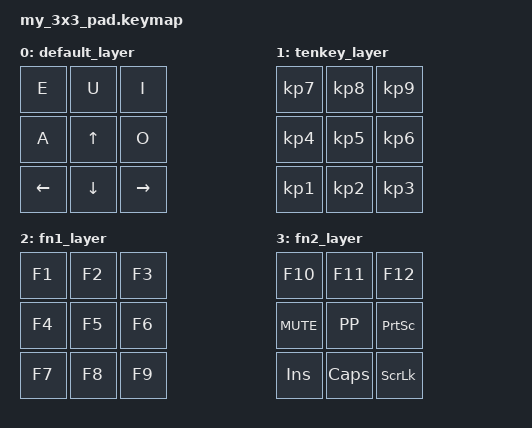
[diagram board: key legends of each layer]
#include <behaviors.dtsi>
#include <dt-bindings/zmk/keys.h>

/ {
    combos {
        compatible = "zmk,combos";
        timeout-ms = <50>;

        /* --- 基本操作 --- */
        cb_bs      { key-positions = <0 1 2>; bindings = <&kp BSPC>; };
        cb_del     { key-positions = <0 1 2 8>; bindings = <&kp DEL>; };
        cb_ent     { key-positions = <3 4 5>; bindings = <&kp ENTER>; };
        cb_spc     { key-positions = <6 7 8>; bindings = <&kp SPACE>; };

        /* --- アルファベット --- */
        cb_q { key-positions = <0 3>; bindings = <&kp Q>; };
        cb_w { key-positions = <0 4>; bindings = <&kp W>; };
        cb_r { key-positions = <0 1>; bindings = <&kp R>; };
        cb_t { key-positions = <0 2>; bindings = <&kp T>; };
        cb_y { key-positions = <1 4>; bindings = <&kp Y>; };
        cb_p { key-positions = <1 2>; bindings = <&kp P>; };
        cb_s { key-positions = <0 6>; bindings = <&kp S>; };
        cb_d { key-positions = <1 3>; bindings = <&kp D>; };
        cb_f { key-positions = <3 4>; bindings = <&kp F>; };
        cb_g { key-positions = <1 7>; bindings = <&kp G>; };
        cb_h { key-positions = <3 5>; bindings = <&kp H>; };
        cb_j { key-positions = <4 5>; bindings = <&kp J>; };
        cb_k { key-positions = <1 5>; bindings = <&kp K>; };
        cb_l { key-positions = <2 8>; bindings = <&kp L>; };
        cb_z { key-positions = <3 6>; bindings = <&kp Z>; };
        cb_x { key-positions = <6 4>; bindings = <&kp X>; };
        cb_c { key-positions = <6 7>; bindings = <&kp C>; };
        cb_v { key-positions = <6 8>; bindings = <&kp V>; };
        cb_b { key-positions = <4 7>; bindings = <&kp B>; };
        cb_n { key-positions = <7 8>; bindings = <&kp N>; };
        cb_m { key-positions = <5 8>; bindings = <&kp M>; };

        /* --- 数字 --- */
        cb_n1 { key-positions = <0 1 3 4>; bindings = <&kp N1>; };
        cb_n2 { key-positions = <1 2 4 5>; bindings = <&kp N2>; };
        cb_n3 { key-positions = <3 4 6 7>; bindings = <&kp N3>; };
        cb_n4 { key-positions = <4 5 7 8>; bindings = <&kp N4>; };
        cb_n5 { key-positions = <1 3 4 5>; bindings = <&kp N5>; };
        cb_n6 { key-positions = <0 1 3 4 6 7>; bindings = <&kp N6>; };
        cb_n7 { key-positions = <1 2 4 5 7 8>; bindings = <&kp N7>; };
        cb_n8 { key-positions = <0 1 2 3 4 5>; bindings = <&kp N8>; };
        cb_n9 { key-positions = <3 4 5 6 7 8>; bindings = <&kp N9>; };
        cb_n0 { key-positions = <4 6 7 8>; bindings = <&kp N0>; };

        /* --- 記号・特殊 --- */
        cb_dot   { key-positions = <5 7>; bindings = <&kp DOT>; };
        cb_comma { key-positions = <3 7>; bindings = <&kp COMMA>; };
        cb_slsh  { key-positions = <1 8>; bindings = <&kp SLASH>; };
        cb_semi  { key-positions = <2 5>; bindings = <&kp SEMI>; };
        cb_col   { key-positions = <0 5>; bindings = <&kp COLON>; };
        cb_at    { key-positions = <2 4>; bindings = <&kp AT>; };
        cb_plus  { key-positions = <1 3 5 7>; bindings = <&kp KP_PLUS>; };
        cb_eql   { key-positions = <3 5 6 8>; bindings = <&kp EQUAL>; };
        cb_lpar  { key-positions = <0 1 3>; bindings = <&kp LPAR>; };
        cb_rpar  { key-positions = <1 3 4>; bindings = <&kp RPAR>; };
        cb_stab  { key-positions = <2 3>; bindings = <&kp LS(TAB)>; };
        cb_esc   { key-positions = <0 1 3 4 8>; bindings = <&kp ESC>; };
        cb_henk  { key-positions = <2 5 8>; bindings = <&kp INT4>; };
        cb_mhen  { key-positions = <0 3 6>; bindings = <&kp INT5>; };
        cb_undo  { key-positions = <3 8>; bindings = <&kp LC(Z)>; };
        cb_redo  { key-positions = <5 6>; bindings = <&kp LC(Y)>; };

        /* --- 修飾キー --- */
        cb_sft { key-positions = <0 3 4>; bindings = <&sk LSHIFT>; };
        cb_gui { key-positions = <1 4 5>; bindings = <&sk LGUI>; };
        cb_ctl { key-positions = <3 6 7>; bindings = <&sk LCONTROL>; };
        cb_alt { key-positions = <4 7 8>; bindings = <&sk LALT>; };
        cb_cs  { key-positions = <0 3 4 6 7>; bindings = <&sk LS(LCTRL)>; };
        cb_ca  { key-positions = <3 4 6 7 8>; bindings = <&sk LA(LCTRL)>; };
        cb_sa  { key-positions = <0 3 4 7 8>; bindings = <&sk LA(LSHIFT)>; };

        /* --- レイヤー切り替え (ここがエラーの源でした) --- */
        cb_tg1 { key-positions = <1 3 5 7>; bindings = <&tog 1>; };
        cb_sl2 { key-positions = <0 1 3 4>; bindings = <&sl 2>; };
        cb_sl3 { key-positions = <1 2 4 5>; bindings = <&sl 3>; };
    };

    keymap {
        compatible = "zmk,keymap";
        default_layer {
            bindings = <
                &kp E     &kp U     &kp I
                &kp A     &kp UP    &kp O
                &kp LEFT  &kp DOWN  &kp RIGHT
            >;
        };
        tenkey_layer {
            bindings = <
                &kp KP_N7  &kp KP_N8  &kp KP_N9
                &kp KP_N4  &kp KP_N5  &kp KP_N6
                &kp KP_N1  &kp KP_N2  &kp KP_N3
            >;
        };
        fn1_layer {
            bindings = <
                &kp F1  &kp F2  &kp F3
                &kp F4  &kp F5  &kp F6
                &kp F7  &kp F8  &kp F9
            >;
        };
        fn2_layer {
            bindings = <
                &kp F10     &kp F11     &kp F12
                &kp K_MUTE  &kp K_PP    &kp PSCRN
                &kp INS     &kp CAPS    &kp SLCK
            >;
        };
    };
};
